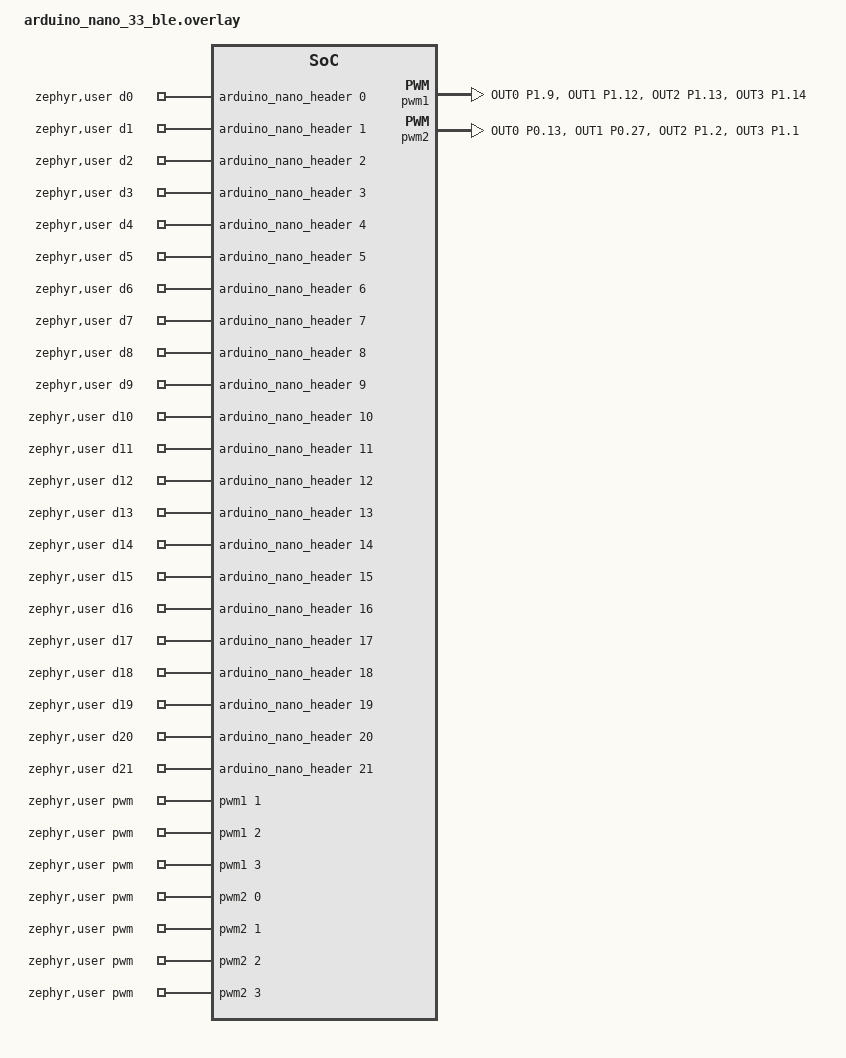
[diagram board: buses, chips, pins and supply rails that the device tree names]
/ {
	zephyr,user {
		d0_gpios = <&arduino_nano_header 0 0>;
		d1_gpios = <&arduino_nano_header 1 0>;
		d2_gpios = <&arduino_nano_header 2 0>;
		d3_gpios = <&arduino_nano_header 3 0>;
		d4_gpios = <&arduino_nano_header 4 0>;
		d5_gpios = <&arduino_nano_header 5 0>;
		d6_gpios = <&arduino_nano_header 6 0>;
		d7_gpios = <&arduino_nano_header 7 0>;
		d8_gpios = <&arduino_nano_header 8 0>;
		d9_gpios = <&arduino_nano_header 9 0>;
		d10_gpios = <&arduino_nano_header 10 0>;
		d11_gpios = <&arduino_nano_header 11 0>;
		d12_gpios = <&arduino_nano_header 12 0>;
		d13_gpios = <&arduino_nano_header 13 0>;
		d14_gpios = <&arduino_nano_header 14 0>; /* D14 / A0 */
		d15_gpios = <&arduino_nano_header 15 0>;
		d16_gpios = <&arduino_nano_header 16 0>;
		d17_gpios = <&arduino_nano_header 17 0>;
		d18_gpios = <&arduino_nano_header 18 0>; /* D18 / A4 / I2C-SDA */
		d19_gpios = <&arduino_nano_header 19 0>; /* D19 / A5 / I2C-SCL */
		d20_gpios = <&arduino_nano_header 20 0>;
		d21_gpios = <&arduino_nano_header 21 0>;
		pwms =	<&pwm1 1 255 PWM_POLARITY_NORMAL>,
			<&pwm1 2 255 PWM_POLARITY_NORMAL>,
			<&pwm1 3 255 PWM_POLARITY_NORMAL>,
			<&pwm2 0 255 PWM_POLARITY_NORMAL>,
			<&pwm2 1 255 PWM_POLARITY_NORMAL>,
			<&pwm2 2 255 PWM_POLARITY_NORMAL>,
			<&pwm2 3 255 PWM_POLARITY_NORMAL>;
		pwm-pins = <3 5 6 13 9 10 11>;
	};
};

&pinctrl {
	pwm1_default: pwm1_default {
		group1 {
			psels = <NRF_PSEL(PWM_OUT0, 1, 9)>, /* keep original config */
				<NRF_PSEL(PWM_OUT1, 1, 12)>,
				<NRF_PSEL(PWM_OUT2, 1, 13)>,
				<NRF_PSEL(PWM_OUT3, 1, 14)>;
				nordic,invert;
		};
	};

	pwm1_sleep: pwm1_sleep {
		group1 {
			psels = <NRF_PSEL(PWM_OUT0, 1, 9)>, /* keep original config */
				<NRF_PSEL(PWM_OUT1, 1, 12)>,
				<NRF_PSEL(PWM_OUT2, 1, 13)>,
				<NRF_PSEL(PWM_OUT3, 1, 14)>;
				low-power-enable;
		};
	};

	pwm2_default: pwm2_default {
		group1 {
			psels = <NRF_PSEL(PWM_OUT0, 0, 13)>, /* keep original config */
				<NRF_PSEL(PWM_OUT1, 0, 27)>,
				<NRF_PSEL(PWM_OUT2, 1, 2)>,
				<NRF_PSEL(PWM_OUT3, 1, 1)>;
				nordic,invert;
		};
	};

	pwm2_sleep: pwm2_sleep {
		group1 {
			psels = <NRF_PSEL(PWM_OUT0, 0, 13)>, /* keep original config */
				<NRF_PSEL(PWM_OUT1, 0, 27)>,
				<NRF_PSEL(PWM_OUT2, 1, 2)>,
				<NRF_PSEL(PWM_OUT3, 1, 1)>;
				low-power-enable;
		};
	};
};

&pwm1 {
	status = "okay";
	pinctrl-0 = <&pwm1_default>;
	pinctrl-1 = <&pwm1_sleep>;
	pinctrl-names = "default", "sleep";
};

&pwm2 {
	status = "okay";
	pinctrl-0 = <&pwm2_default>;
	pinctrl-1 = <&pwm2_sleep>;
	pinctrl-names = "default", "sleep";
};
